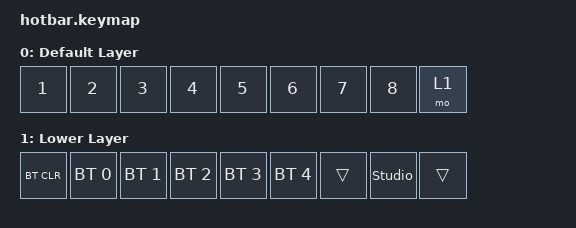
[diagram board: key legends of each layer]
// This file was generated from a template. Edit it to match your keyboard.
// See https://zmk.dev/docs/development/hardware-integration/new-shield for more instructions.

#include <behaviors.dtsi>
#include <dt-bindings/zmk/keys.h>
#include <dt-bindings/zmk/bt.h>


/ {
    // Define a default keymap here.
    // See https://zmk.dev/docs/development/hardware-integration/new-shield#default-keymap.
    keymap {
        compatible = "zmk,keymap";

        default_layer {
            display-name = "Default Layer";
            bindings = <
                &kp N1 &kp N2 &kp N3 &kp N4 &kp N5 &kp N6 &kp N7 &kp N8 &mo 1
            >;
        };

        lower_layer {
            display-name = "Lower Layer";
            bindings = <
                &bt BT_CLR &bt BT_SEL 0 &bt BT_SEL 1 &bt BT_SEL 2 &bt BT_SEL 3 &bt BT_SEL 4 &trans &studio_unlock &trans
            >;
        };
    };
};
